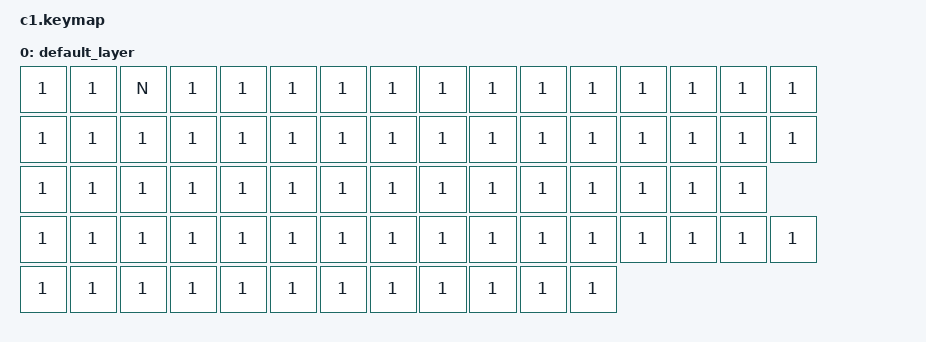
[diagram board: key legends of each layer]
#include <behaviors.dtsi>
#include <dt-bindings/zmk/keys.h>
#include <dt-bindings/zmk/bt.h>

/{
    keymap {
        compatible = "zmk,keymap";

        default_layer{
            bindings = <
    &kp N1 &kp N1 &kp N  &kp N1 &kp N1 &kp N1 &kp N1 &kp N1 &kp N1 &kp N1 &kp N1 &kp N1 &kp N1 &kp N1 &kp N1 &kp N1
    &kp N1 &kp N1 &kp N1 &kp N1 &kp N1 &kp N1 &kp N1 &kp N1 &kp N1 &kp N1 &kp N1 &kp N1 &kp N1 &kp N1 &kp N1 &kp N1
    &kp N1 &kp N1 &kp N1 &kp N1 &kp N1 &kp N1 &kp N1 &kp N1 &kp N1 &kp N1 &kp N1 &kp N1 &kp N1 &kp N1 &kp N1
    &kp N1 &kp N1 &kp N1 &kp N1 &kp N1 &kp N1 &kp N1 &kp N1 &kp N1 &kp N1 &kp N1 &kp N1 &kp N1 &kp N1 &kp N1 &kp N1
    &kp N1 &kp N1 &kp N1 &kp N1 &kp N1 &kp N1 &kp N1 &kp N1 &kp N1 &kp N1 &kp N1 &kp N1
            >;
        };
    };
};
